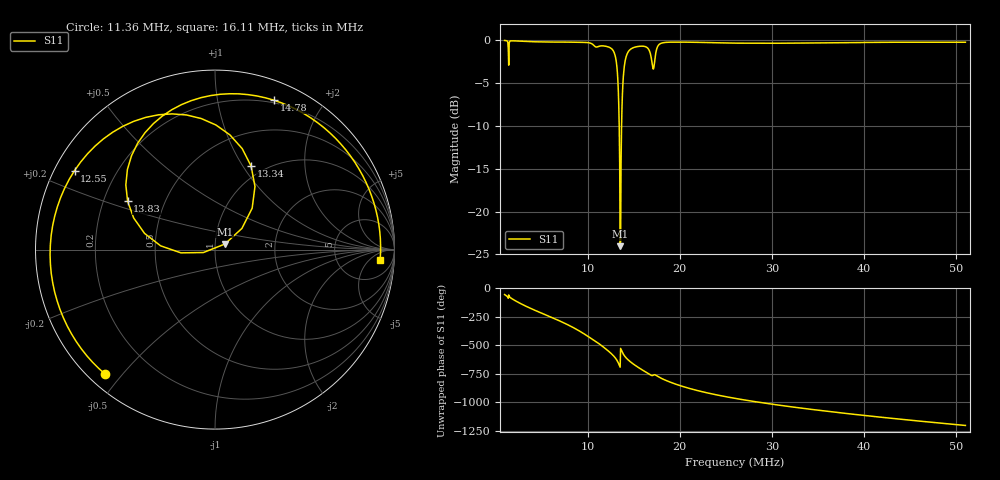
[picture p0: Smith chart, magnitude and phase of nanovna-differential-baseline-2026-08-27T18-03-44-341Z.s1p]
! Differential Probe baseline mean; specimen=unspecified; calibration=load Es Er cal'ed
# Hz S RI R 50
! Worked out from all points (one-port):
!   1010 points, 1 MHz to 51 MHz, reference 50 ohm
!   lowest |S11| = -24.0 dB at 13.54 MHz (marker M1), VSWR 1.13, Z = 55.7 + j3.44 ohm
!   |S11| at or under -10 dB: 13.43 MHz to 13.69 MHz (258.2 kHz wide, 1.9 % of centre)
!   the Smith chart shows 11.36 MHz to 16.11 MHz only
!   S11 on the Smith chart (normalised r, x): 11.36 MHz: 0.05, -0.45; 12.55 MHz: 0.06, +0.26; 13.34 MHz: 0.87, +1.09; 13.83 MHz: 0.30, +0.24; 14.78 MHz: 0.17, +1.45; 16.11 MHz: 16, -12
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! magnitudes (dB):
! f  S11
! 1 MHz  0.0
! 7.293 MHz  -0.2
! 11.36 MHz  -0.7
! 12.55 MHz  -0.9
! 12.89 MHz  -1.5
! 13.09 MHz  -2.3
! 13.24 MHz  -3.8
! 13.34 MHz  -5.9
! 13.44 MHz  -10.2
! 13.54 MHz  -24.0
! 13.64 MHz  -14.4
! 13.74 MHz  -7.9
! 13.78 MHz  -6.3
! 13.83 MHz  -5.1
! 13.93 MHz  -3.6
! 14.08 MHz  -2.4
! 14.33 MHz  -1.5
! 14.78 MHz  -1.0
! 16.11 MHz  -0.7
! 16.61 MHz  -1.0
! 17.11 MHz  -3.3
! 17.85 MHz  -0.4
! 19.78 MHz  -0.2
! 26.02 MHz  -0.3
! 32.27 MHz  -0.3
! 38.51 MHz  -0.3
! 44.76 MHz  -0.2
! 51 MHz  -0.2
